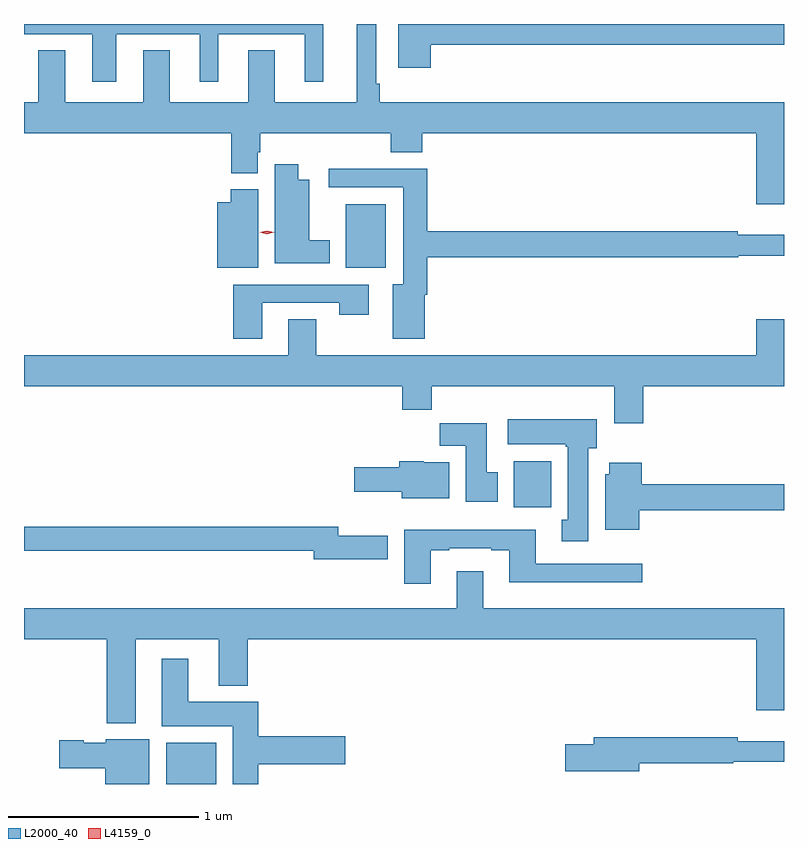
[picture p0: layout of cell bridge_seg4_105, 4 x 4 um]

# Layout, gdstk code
import gdstk
lib = gdstk.Library(unit=1e-6, precision=1e-09)
def R(c, l, rs):  # rectangles x0, y0, x1, y1
    for r in rs: c.add(gdstk.rectangle(r[:2], r[2:], *l))
def P(c, l, *ps):  # polygons
    for p in ps: c.add(gdstk.Polygon(p, *l))
L2000_40 = (2000, 40)
L4159_0 = (4159, 0)

bridge_seg4_105 = lib.new_cell('bridge_seg4_105')
R(bridge_seg4_105, L2000_40, [(581.483,764.091,581.746,764.308), (583.313,765.548,583.51,765.79), (582.428,766.808,582.64,767.143)])
P(bridge_seg4_105, L2000_40, [(582.875,767.982),(584.735,767.982),(584.735,768.091),(582.704,768.091),(582.704,767.862),(582.875,767.862)],
  [(581.221,768.038),(581.66,768.038),(581.66,767.787),(581.758,767.787),(581.758,768.038),(582.212,768.038),(582.212,767.787),(582.31,767.787),(582.31,768.091),(580.735,768.091),(580.735,768.038),(581.093,768.038),(581.093,767.787),(581.221,767.787)],
  [(584.735,767.68),(582.607,767.68),(582.607,767.776),(582.589,767.776),(582.589,768.091),(582.485,768.091),(582.485,767.68),(582.055,767.68),(582.055,767.953),(581.915,767.953),(581.915,767.68),(581.503,767.68),(581.503,767.953),(581.363,767.953),(581.363,767.68),(580.951,767.68),(580.951,767.953),(580.811,767.953),(580.811,767.68),(580.735,767.68),(580.735,767.516),(581.825,767.516),(581.825,767.305),(581.965,767.305),(581.965,767.415),(581.978,767.415),(581.978,767.516),(582.665,767.516),(582.665,767.417),(582.83,767.417),(582.83,767.516),(584.588,767.516),(584.588,767.142),(584.735,767.142)],
  [(582.343,766.954),(582.235,766.954),(582.235,767.272),(582.178,767.272),(582.178,767.353),(582.056,767.353),(582.056,766.832),(582.343,766.832)],
  [(582.844,766.667),(582.857,766.667),(582.857,766.864),(584.494,766.864),(584.494,766.872),(584.735,766.872),(584.735,766.981),(584.492,766.981),(584.492,767),(582.857,767),(582.857,767.33),(582.339,767.33),(582.339,767.232),(582.731,767.232),(582.731,766.72),(582.677,766.72),(582.677,766.434),(582.844,766.434)],
  [(581.968,767.22),(581.822,767.22),(581.822,767.152),(581.753,767.152),(581.753,766.808),(581.968,766.808)],
  [(581.989,766.623),(582.394,766.623),(582.394,766.56),(582.55,766.56),(582.55,766.719),(581.837,766.719),(581.837,766.434),(581.989,766.434)],
  [(583.994,766.184),(584.735,766.184),(584.735,766.537),(584.588,766.537),(584.588,766.348),(582.273,766.348),(582.273,766.538),(582.125,766.538),(582.125,766.348),(580.735,766.348),(580.735,766.184),(582.725,766.184),(582.725,766.06),(582.881,766.06),(582.881,766.184),(583.841,766.184),(583.841,765.99),(583.994,765.99)],
  [(583.705,765.858),(583.75,765.858),(583.75,766.012),(583.281,766.012),(583.281,765.878),(583.585,765.878),(583.585,765.865),(583.598,765.865),(583.598,765.482),(583.565,765.482),(583.565,765.369),(583.705,765.369)],
  [(583.228,765.732),(583.171,765.732),(583.171,765.991),(582.922,765.991),(582.922,765.872),(583.061,765.872),(583.061,765.576),(583.228,765.576)],
  [(582.973,765.784),(582.84,765.784),(582.84,765.79),(582.71,765.79),(582.71,765.759),(582.474,765.759),(582.474,765.629),(582.722,765.629),(582.722,765.596),(582.973,765.596)],
  [(583.972,765.532),(584.735,765.532),(584.735,765.668),(583.985,765.668),(583.985,765.781),(583.814,765.781),(583.814,765.72),(583.793,765.72),(583.793,765.428),(583.972,765.428)],
  [(582.649,765.397),(582.388,765.397),(582.388,765.446),(580.735,765.446),(580.735,765.318),(582.26,765.318),(582.26,765.275),(582.649,765.275)],
  [(582.877,765.321),(582.973,765.321),(582.973,765.333),(583.193,765.333),(583.193,765.321),(583.289,765.321),(583.289,765.152),(583.99,765.152),(583.99,765.249),(583.429,765.249),(583.429,765.43),(582.737,765.43),(582.737,765.144),(582.877,765.144)],
  [(581.323,764.852),(581.759,764.852),(581.759,764.609),(581.912,764.609),(581.912,764.852),(584.588,764.852),(584.588,764.478),(584.735,764.478),(584.735,765.016),(583.153,765.016),(583.153,765.211),(583.013,765.211),(583.013,765.016),(580.735,765.016),(580.735,764.852),(581.171,764.852),(581.171,764.411),(581.323,764.411)],
  [(581.969,764.195),(582.427,764.195),(582.427,764.342),(581.969,764.342),(581.969,764.524),(581.599,764.524),(581.599,764.749),(581.459,764.749),(581.459,764.396),(581.834,764.396),(581.834,764.091),(581.969,764.091)],
  [(583.972,764.2),(584.468,764.2),(584.468,764.208),(584.735,764.208),(584.735,764.317),(584.492,764.317),(584.492,764.336),(583.733,764.336),(583.733,764.3),(583.584,764.3),(583.584,764.158),(583.972,764.158)],
  [(581.395,764.326),(581.166,764.326),(581.166,764.308),(581.049,764.308),(581.049,764.321),(580.92,764.321),(580.92,764.174),(581.162,764.174),(581.162,764.091),(581.395,764.091)])
P(bridge_seg4_105, L4159_0, [(582.013,766.984),(581.976,766.994),(581.975,766.994),(581.976,766.994),(582.013,767.004),(582.051,766.994),(582.051,766.994),(582.051,766.994)])

lib.write_gds('bridge_seg4_105.gds')
